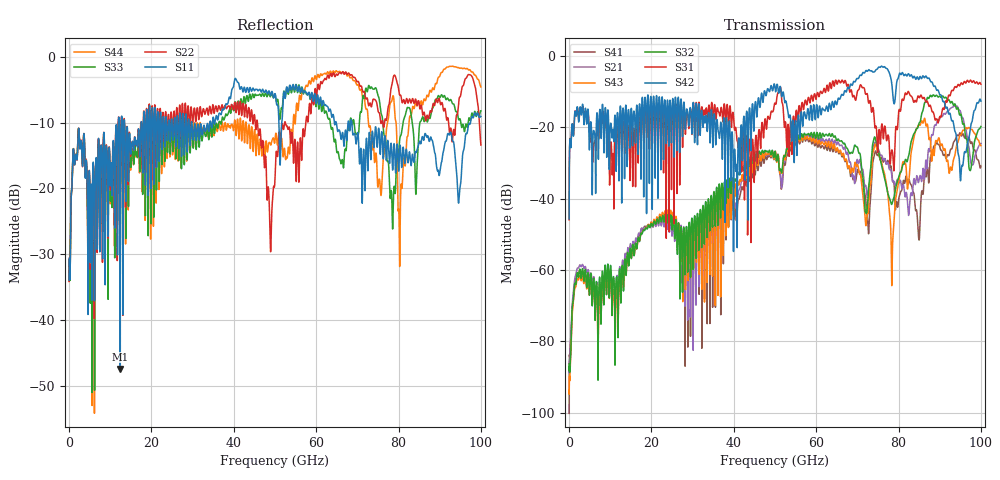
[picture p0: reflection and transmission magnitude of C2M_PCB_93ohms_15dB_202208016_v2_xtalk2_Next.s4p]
! Info: Touchstone file created by Circ.  Input file=Intel_C2M_200G_4p0in_202208016_staggered.circ
# Hz S RI R 50
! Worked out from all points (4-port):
!   10000 points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, 10 MHz to 100 GHz, reference 50 ohm
!   strongest paths, dB at 10 MHz, 25.01 GHz, 50.01 GHz, 75.01 GHz, 100 GHz:
!     S42: -45.7, -15.3, -8.9, -3.3, -12.6
!     S31: -45.9, -18.6, -13.2, -25.1, -7.9
!     S32: -86.4, -48.7, -26.7, -26.0, -19.8
!     S43: -93.7, -45.5, -26.8, -26.6, -25.1
!     S21: -88.3, -50.5, -26.9, -25.9, -24.5
!     S41: -100.2, -47.2, -27.3, -27.6, -30.9
!   lowest |S11| = -47.5 dB at 12.43 GHz (marker M1), VSWR 1.01, Z = 50.1 + j0.4 ohm
!   |S11| at or under -10 dB: start of sweep to 11.99 GHz; 29.8 GHz to 34.16 GHz (4.363 GHz wide, 13.6 % of centre); 68.66 GHz to 97.48 GHz (28.82 GHz wide, 34.7 % of centre)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
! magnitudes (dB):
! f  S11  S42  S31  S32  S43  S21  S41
! 10 MHz  -34.0  -45.7  -45.9  -86.4  -93.7  -88.3  -100.2
! 12.43 GHz  -47.5  -14.1  -17.5  -62.7  -64.4  -59.9  -61.4
! 56.67 GHz  -4.9  -19.3  -13.1  -22.4  -23.6  -22.6  -24.1
! 78.45 GHz  -15.9  -8.7  -26.4  -41.3  -57.2  -34.4  -34.0
! 85.24 GHz  -12.9  -5.7  -11.3  -18.5  -19.4  -33.5  -45.9
! 95.25 GHz  -18.1  -31.8  -7.5  -16.8  -21.9  -16.5  -22.4
! 100 GHz  -9.1  -12.6  -7.9  -19.8  -25.1  -24.5  -30.9
